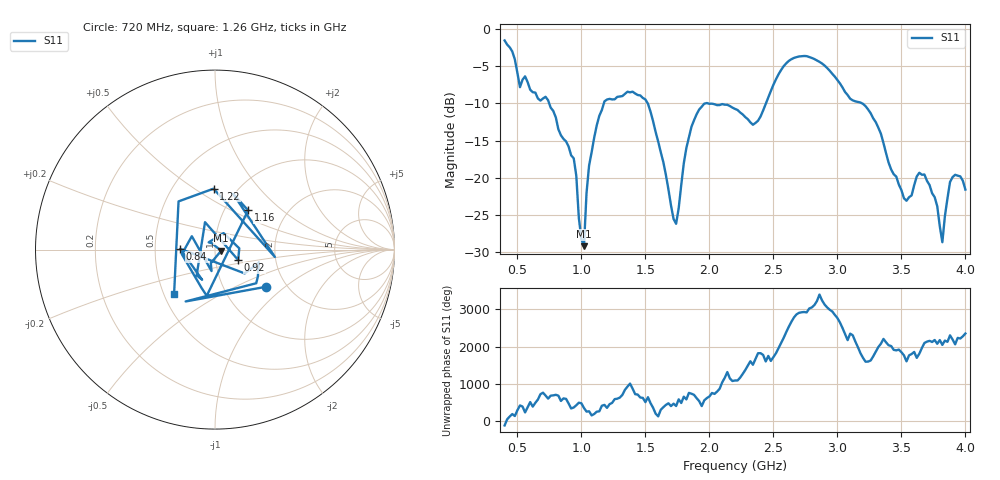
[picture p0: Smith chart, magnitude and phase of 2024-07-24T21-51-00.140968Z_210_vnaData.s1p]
!Created with skrf (http://scikit-rf.org).
# Hz S RI R 50.0
!freq ReS11 ImS11
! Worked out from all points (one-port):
!   181 points, 400 MHz to 4 GHz, reference 50 ohm
!   lowest |S11| = -29.2 dB at 1.02 GHz (marker M1), VSWR 1.07, Z = 53.5 - j0.702 ohm
!   |S11| at or under -10 dB: 1.519 GHz to 1.966 GHz (446.9 MHz wide, 25.7 % of centre); 1.992 GHz to 2.441 GHz (449.4 MHz wide, 20.3 % of centre); 3.195 GHz to end of sweep (the widest 3 of 4)
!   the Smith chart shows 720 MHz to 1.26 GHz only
!   S11 on the Smith chart (normalised r, x): 720 MHz: 1.57, -0.74; 840 MHz: 0.68, +0.01; 920 MHz: 1.29, -0.15; 1.16 GHz: 1.29, +0.61; 1.22 GHz: 0.78, +0.60; 1.26 GHz: 0.56, -0.32
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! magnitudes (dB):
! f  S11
! 400 MHz  -1.5
! 520 MHz  -7.8
! 720 MHz  -9.1
! 840 MHz  -14.3
! 860 MHz  -14.8
! 920 MHz  -17.0
! 1.02 GHz  -29.2
! 1.06 GHz  -18.3
! 1.16 GHz  -10.9
! 1.22 GHz  -9.4
! 1.26 GHz  -9.4
! 1.3 GHz  -9.1
! 1.52 GHz  -10.0
! 1.72 GHz  -25.5
! 1.76 GHz  -24.1
! 1.82 GHz  -16.0
! 1.92 GHz  -10.8
! 2.2 GHz  -10.7
! 2.36 GHz  -12.6
! 2.66 GHz  -3.9
! 3.1 GHz  -9.4
! 3.26 GHz  -11.3
! 3.56 GHz  -22.6
! 3.68 GHz  -19.6
! 3.78 GHz  -23.8
! 3.82 GHz  -28.6
! 3.88 GHz  -20.5
! 4 GHz  -21.6
